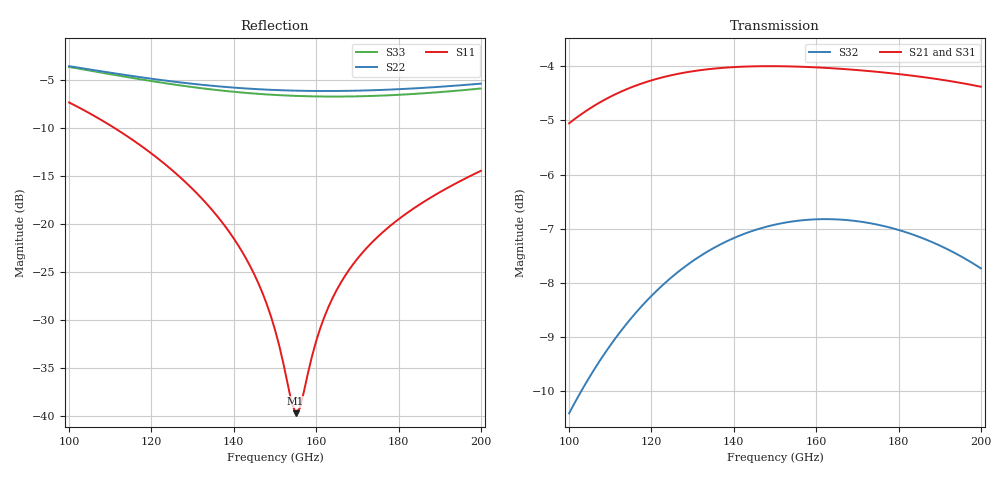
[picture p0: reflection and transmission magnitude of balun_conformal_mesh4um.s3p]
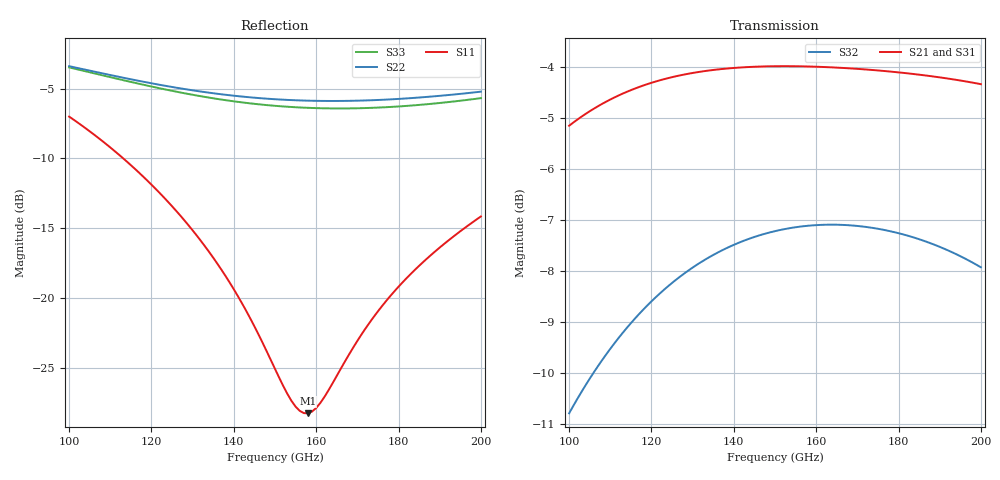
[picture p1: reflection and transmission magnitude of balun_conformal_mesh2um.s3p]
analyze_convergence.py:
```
#!/usr/bin/env python
"""Mesh convergence analysis for the conformal-3D-passivation D-band balun study.

Reads the de-embedded Touchstone files collected in results/snp/ (this
study's own 4/2/1 um conformal-stackup points, and the matching 4/2/1 um
points from the sibling planar-stackup study), computes per-point and max
delta-S between successive mesh refinements for S11, S21, S31, writes CSV
tables, and renders overlay plots (magnitude + phase vs. frequency):
  - convergence within the conformal stackup (4 -> 2 -> 1 um)
  - conformal vs. planar stackup at each matching mesh size
"""
import os
import csv
import numpy as np
import skrf as rf
import matplotlib
matplotlib.use("Agg")
import matplotlib.pyplot as plt

HERE = os.path.dirname(os.path.abspath(__file__))
SNP_DIR = os.path.join(HERE, "snp")
PLOT_DIR = os.path.join(HERE, "plots")
PLANAR_SNP_DIR = os.path.join(
    HERE, "..", "..", "mesh_convergence", "mesh_convergence_D-band_balun", "results", "snp"
)

# ordered coarse -> fine
CONFORMAL_SERIES = [
    ("mesh4", "4 um (conformal)", "balun_conformal_mesh4um.s3p", SNP_DIR),
    ("mesh2", "2 um (conformal)", "balun_conformal_mesh2um.s3p", SNP_DIR),
    ("mesh1", "1 um (conformal)", "balun_conformal_mesh1um.s3p", SNP_DIR),
]
PLANAR_SERIES = [
    ("mesh4", "4 um (planar)", "balun_mesh4um.s3p", PLANAR_SNP_DIR),
    ("mesh2", "2 um (planar)", "balun_mesh2um.s3p", PLANAR_SNP_DIR),
    ("mesh1", "1 um (planar)", "balun_mesh1um.s3p", PLANAR_SNP_DIR),
]

SPARAMS = [(1, 1, "S11"), (2, 1, "S21"), (3, 1, "S31")]

COLORS = ["#4c72b0", "#dd8452", "#55a868", "#c44e52", "#8172b2", "#937860"]


def load(entry):
    key, label, fname, snp_dir = entry
    path = os.path.join(snp_dir, fname)
    if not os.path.isfile(path):
        return None
    nw = rf.Network(path)
    nw.name = label
    return key, label, nw


def db(x):
    return 20 * np.log10(np.abs(x))


def deg(x):
    return np.angle(x, deg=True)


def max_delta_linear(nw_a, nw_b, m, n):
    """Max |S(b) - S(a)| (linear complex magnitude) over common frequencies.

    Standard HFSS-style "Delta S" convergence metric (also used by
    palace_summary.py for AMR iterations, and the planar D-band-balun
    study). Deliberately NOT a dB(b)-dB(a) difference: near an
    S-parameter null a tiny absolute error produces a huge dB swing even
    though the physical mismatch is negligible.
    """
    fa, fb = nw_a.frequency.f, nw_b.frequency.f
    common = np.intersect1d(fa, fb)
    if common.size == 0:
        return None
    ia = np.searchsorted(fa, common)
    ib = np.searchsorted(fb, common)
    sa = nw_a.s[ia, m - 1, n - 1]
    sb = nw_b.s[ib, m - 1, n - 1]
    return float(np.max(np.abs(sb - sa)))


def band_edge_delta_db(nw_a, nw_b, m, n):
    fa, fb = nw_a.frequency.f, nw_b.frequency.f
    common = np.intersect1d(fa, fb)
    if common.size == 0:
        return None, None
    lo, hi = common[0], common[-1]
    ia_lo, ib_lo = np.searchsorted(fa, lo), np.searchsorted(fb, lo)
    ia_hi, ib_hi = np.searchsorted(fa, hi), np.searchsorted(fb, hi)
    d_lo = abs(db(nw_b.s[ib_lo, m - 1, n - 1]) - db(nw_a.s[ia_lo, m - 1, n - 1]))
    d_hi = abs(db(nw_b.s[ib_hi, m - 1, n - 1]) - db(nw_a.s[ia_hi, m - 1, n - 1]))
    return float(d_lo), float(d_hi)


DESIGN_FREQ_HZ = 155.0e9  # center of this balun's 140-170 GHz target band


def delta_db_at_freq(nw_a, nw_b, m, n, freq_hz):
    fa, fb = nw_a.frequency.f, nw_b.frequency.f
    ia = int(np.argmin(np.abs(fa - freq_hz)))
    ib = int(np.argmin(np.abs(fb - freq_hz)))
    if abs(fa[ia] - freq_hz) > 0.5e9 or abs(fb[ib] - freq_hz) > 0.5e9:
        return None
    return float(abs(db(nw_b.s[ib, m - 1, n - 1]) - db(nw_a.s[ia, m - 1, n - 1])))


def fmt(x):
    return f"{x:.4f}" if x is not None else "n/a"


def write_delta_table(csv_path, comparisons, ref_col_label):
    with open(csv_path, "w", newline="") as f:
        writer = csv.writer(f)
        writer.writerow([
            "Param", "Comparison", f"Max|dS| (linear){ref_col_label}",
            "|dS_dB| at 100 GHz", "|dS_dB| at 155 GHz (design freq.)", "|dS_dB| at 200 GHz"
        ])
        for m, n, pname in SPARAMS:
            for label_a, nw_a, label_b, nw_b in comparisons:
                comparison = f"{label_a} -> {label_b}"
                max_d = max_delta_linear(nw_a, nw_b, m, n)
                d_lo, d_hi = band_edge_delta_db(nw_a, nw_b, m, n)
                d_design = delta_db_at_freq(nw_a, nw_b, m, n, DESIGN_FREQ_HZ)
                writer.writerow([pname, comparison, fmt(max_d), fmt(d_lo), fmt(d_design), fmt(d_hi)])
    print(f"Wrote table: {csv_path}")


def overlay_plot(series, out_name, title_suffix):
    os.makedirs(PLOT_DIR, exist_ok=True)
    for m, n, pname in SPARAMS:
        fig, (ax_mag, ax_phase) = plt.subplots(2, 1, figsize=(8, 7), sharex=True)
        for idx, (key, label, nw) in enumerate(series):
            color = COLORS[idx % len(COLORS)]
            style = "--" if "planar" in label else "-"
            freq_ghz = nw.frequency.f / 1e9
            ax_mag.plot(freq_ghz, db(nw.s[:, m - 1, n - 1]), color=color, linestyle=style, label=label)
            ax_phase.plot(freq_ghz, deg(nw.s[:, m - 1, n - 1]), color=color, linestyle=style, label=label)
        ax_mag.set_ylabel(f"|{pname}| (dB)")
        ax_mag.grid(True, alpha=0.3)
        ax_mag.legend(fontsize=8)
        ax_mag.set_title(f"{pname} {title_suffix}")
        ax_phase.set_xlabel("Frequency (GHz)")
        ax_phase.set_ylabel(f"arg({pname}) (deg)")
        ax_phase.grid(True, alpha=0.3)
        fig.tight_layout()
        out_path = os.path.join(PLOT_DIR, f"{pname.lower()}_{out_name}.png")
        fig.savefig(out_path, dpi=150)
        plt.close(fig)
        print(f"Wrote plot: {out_path}")


def main():
    conformal = [r for r in (load(e) for e in CONFORMAL_SERIES) if r]
    planar = [r for r in (load(e) for e in PLANAR_SERIES) if r]

    missing_c = [e[2] for e in CONFORMAL_SERIES if not os.path.isfile(os.path.join(e[3], e[2]))]
    missing_p = [e[2] for e in PLANAR_SERIES if not os.path.isfile(os.path.join(e[3], e[2]))]
    if missing_c:
        print("WARNING: missing conformal files:", missing_c)
    if missing_p:
        print("WARNING: missing planar baseline files:", missing_p)

    # ---------------- within-conformal-study convergence (4->2->1 um) ----------------
    comparisons = [
        (conformal[i - 1][1], conformal[i - 1][2], conformal[i][1], conformal[i][2])
        for i in range(1, len(conformal))
    ]
    write_delta_table(os.path.join(HERE, "delta_S_table.csv"), comparisons, "")

    ref_label, ref_nw = conformal[-1][1], conformal[-1][2]
    vs_finest = [(label, nw, ref_label, ref_nw) for _, label, nw in conformal[:-1]]
    write_delta_table(os.path.join(HERE, "delta_S_vs_finest.csv"), vs_finest, f" vs. {ref_label}")

    overlay_plot(conformal, "convergence", "vs. mesh refinement (conformal 3D-passivation stackup)")

    # ---------------- conformal vs. planar, at matching mesh sizes ----------------
    planar_by_key = {k: (k, label, nw) for k, label, nw in planar}
    matched_comparisons = []
    matched_series_per_mesh = {}
    for key, label, nw in conformal:
        if key in planar_by_key:
            pkey, plabel, pnw = planar_by_key[key]
            matched_comparisons.append((plabel, pnw, label, nw))
            matched_series_per_mesh[key] = [(pkey, plabel, pnw), (key, label, nw)]
    write_delta_table(os.path.join(HERE, "delta_S_vs_planar.csv"), matched_comparisons, " (conformal vs. planar)")

    # one overlay plot per matching mesh size, planar vs conformal
    for key in ("mesh4", "mesh2", "mesh1"):
        if key in matched_series_per_mesh:
            overlay_plot(
                matched_series_per_mesh[key],
                f"planar_vs_conformal_{key}",
                f"planar vs. conformal-passivation stackup ({key.replace('mesh', '')} um)",
            )

    # combined plot: finest mesh (1 um) of each stackup, all three S-params already
    # covered above via the mesh1 comparison plot -- kept as the primary reference.


if __name__ == "__main__":
    main()
```
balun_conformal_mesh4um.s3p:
! Created with skrf 2.1.0 (http://scikit-rf.org).
# GHz S DB R 50.0
! Port[1] = P1
! Port[2] = P2
! Port[3] = P3
!freq dBS11 angS11 dBS12 angS12 dBS13 angS13
! dBS21 angS21 dBS22 angS22 dBS23 angS23
! dBS31 angS31 dBS32 angS32 dBS33 angS33
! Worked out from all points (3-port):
!   101 points, 100 GHz to 200 GHz, reference 50 ohm
!   strongest paths, dB at 100 GHz, 125 GHz, 150 GHz, 175 GHz, 200 GHz:
!     S21: -5.1, -4.2, -4.0, -4.1, -4.4
!     S31: -5.2, -4.2, -4.0, -4.1, -4.3
!     S32: -10.4, -7.9, -6.9, -6.9, -7.7
!   lowest |S11| = -39.8 dB at 155 GHz (marker M1), VSWR 1.02, Z = 51 - j0.0654 ohm
!   |S11| at or under -10 dB: 110.9 GHz to end of sweep
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100  -7.36 137.0  -5.05 -3.9  -5.16 173.5
     -5.05 -3.9  -3.58 62.6  -10.41 95.3
     -5.16 173.5  -10.41 95.3  -3.66 53.7
138  -20.34 87.1  -4.02 -57.0  -4.07 117.7
     -4.02 -57.0  -5.75 30.3  -7.24 43.3
     -4.07 117.7  -7.24 43.3  -6.16 18.0
155  -39.77 -3.6  -4.00 -77.6  -4.03 96.0
     -4.00 -77.6  -6.13 18.3  -6.86 22.8
     -4.03 96.0  -6.86 22.8  -6.68 5.4
169  -24.21 -97.6  -4.06 -93.8  -4.08 79.0
     -4.06 -93.8  -6.14 8.3  -6.85 6.7
     -4.08 79.0  -6.85 6.7  -6.73 -4.7
200  -14.49 -120.0  -4.38 -129.0  -4.35 42.0
     -4.38 -129.0  -5.40 -15.6  -7.73 -28.3
     -4.35 42.0  -7.73 -28.3  -5.90 -28.7
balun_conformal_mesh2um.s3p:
! Created with skrf 2.1.0 (http://scikit-rf.org).
# GHz S DB R 50.0
! Port[1] = P1
! Port[2] = P2
! Port[3] = P3
!freq dBS11 angS11 dBS12 angS12 dBS13 angS13
! dBS21 angS21 dBS22 angS22 dBS23 angS23
! dBS31 angS31 dBS32 angS32 dBS33 angS33
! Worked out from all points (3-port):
!   101 points, 100 GHz to 200 GHz, reference 50 ohm
!   strongest paths, dB at 100 GHz, 125 GHz, 150 GHz, 175 GHz, 200 GHz:
!     S21: -5.2, -4.2, -4.0, -4.1, -4.3
!     S31: -5.2, -4.2, -4.0, -4.1, -4.3
!     S32: -10.8, -8.2, -7.2, -7.2, -7.9
!   lowest |S11| = -28.3 dB at 158 GHz (marker M1), VSWR 1.08, Z = 53.9 - j0.845 ohm
!   |S11| at or under -10 dB: 113.1 GHz to end of sweep
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100  -7.01 137.4  -5.15 -2.5  -5.23 175.1
     -5.15 -2.5  -3.40 62.7  -10.79 95.4
     -5.23 175.1  -10.79 95.4  -3.49 54.3
130  -15.16 91.6  -4.12 -45.3  -4.16 130.4
     -4.12 -45.3  -5.13 36.2  -7.93 54.1
     -4.16 130.4  -7.93 54.1  -5.45 25.3
158  -28.27 -11.7  -3.99 -79.8  -4.01 94.2
     -3.99 -79.8  -5.87 16.1  -7.11 20.1
     -4.01 94.2  -7.11 20.1  -6.38 4.2
179  -19.53 -89.8  -4.10 -103.9  -4.10 68.9
     -4.10 -103.9  -5.76 1.1  -7.24 -3.8
     -4.10 68.9  -7.24 -3.8  -6.30 -10.9
200  -14.17 -112.5  -4.34 -127.9  -4.32 43.8
     -4.34 -127.9  -5.23 -15.0  -7.92 -27.4
     -4.32 43.8  -7.92 -27.4  -5.69 -27.1
